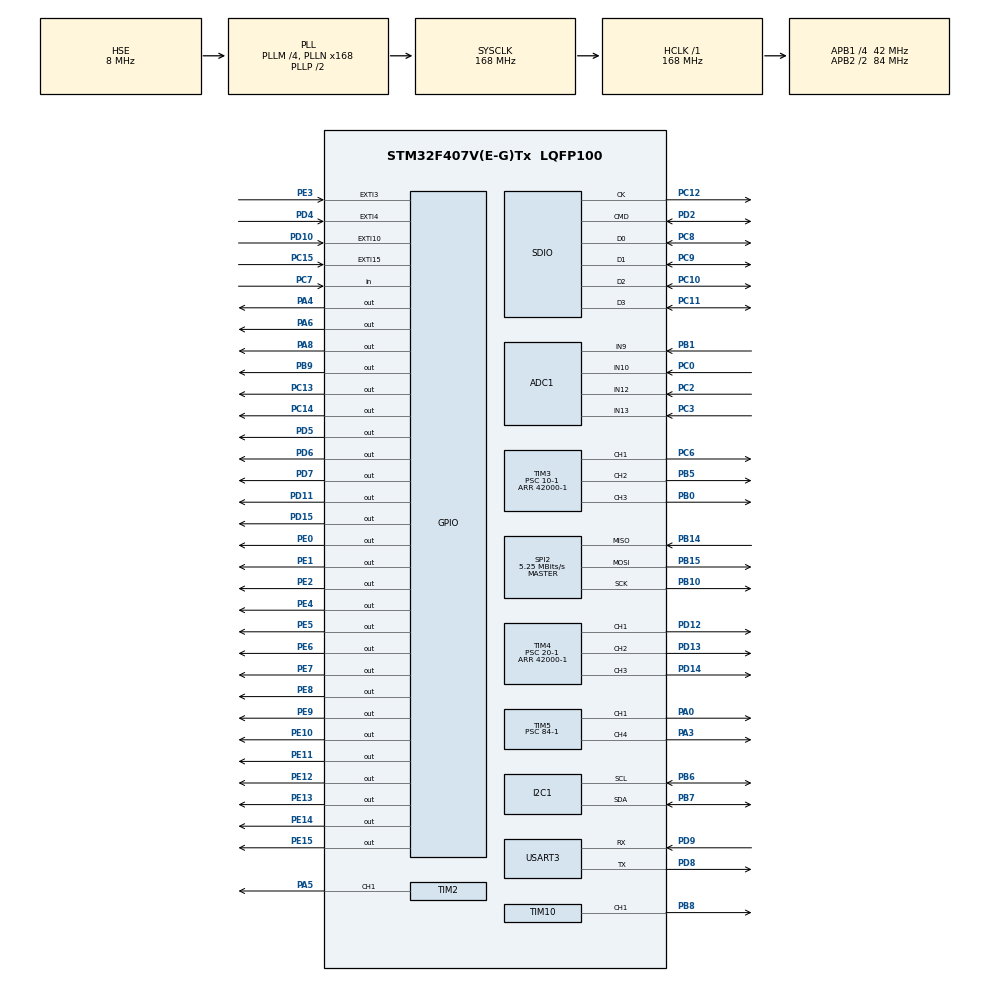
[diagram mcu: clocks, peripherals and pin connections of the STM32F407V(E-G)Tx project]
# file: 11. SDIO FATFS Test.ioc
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ADC1.Channel-0\#ChannelRegularConversion=ADC_CHANNEL_10
ADC1.Channel-1\#ChannelRegularConversion=ADC_CHANNEL_12
ADC1.Channel-2\#ChannelRegularConversion=ADC_CHANNEL_13
ADC1.Channel-3\#ChannelRegularConversion=ADC_CHANNEL_9
ADC1.ContinuousConvMode=ENABLE
ADC1.DMAContinuousRequests=ENABLE
ADC1.NbrOfConversion=4
ADC1.NbrOfConversionFlag=1
ADC1.Rank-0\#ChannelRegularConversion=1
ADC1.Rank-1\#ChannelRegularConversion=2
ADC1.Rank-2\#ChannelRegularConversion=3
ADC1.Rank-3\#ChannelRegularConversion=4
ADC1.SamplingTime-0\#ChannelRegularConversion=ADC_SAMPLETIME_84CYCLES
ADC1.SamplingTime-1\#ChannelRegularConversion=ADC_SAMPLETIME_84CYCLES
ADC1.SamplingTime-2\#ChannelRegularConversion=ADC_SAMPLETIME_84CYCLES
ADC1.SamplingTime-3\#ChannelRegularConversion=ADC_SAMPLETIME_84CYCLES
ADC1.ScanConvMode=ENABLE
ADC1.master=1
Dma.ADC1.0.Direction=DMA_PERIPH_TO_MEMORY
Dma.ADC1.0.FIFOMode=DMA_FIFOMODE_DISABLE
Dma.ADC1.0.Instance=DMA2_Stream0
Dma.ADC1.0.MemDataAlignment=DMA_MDATAALIGN_HALFWORD
Dma.ADC1.0.MemInc=DMA_MINC_ENABLE
Dma.ADC1.0.Mode=DMA_CIRCULAR
Dma.ADC1.0.PeriphDataAlignment=DMA_PDATAALIGN_HALFWORD
Dma.ADC1.0.PeriphInc=DMA_PINC_DISABLE
Dma.ADC1.0.Priority=DMA_PRIORITY_LOW
Dma.Request0=ADC1
Dma.Request1=SDIO_TX
Dma.Request2=SDIO_RX
Dma.SDIO_RX.2.Direction=DMA_PERIPH_TO_MEMORY
Dma.SDIO_RX.2.FIFOMode=DMA_FIFOMODE_ENABLE
Dma.SDIO_RX.2.FIFOThreshold=DMA_FIFO_THRESHOLD_FULL
Dma.SDIO_RX.2.Instance=DMA2_Stream6
Dma.SDIO_RX.2.MemBurst=DMA_MBURST_INC4
Dma.SDIO_RX.2.MemDataAlignment=DMA_MDATAALIGN_WORD
Dma.SDIO_RX.2.MemInc=DMA_MINC_ENABLE
Dma.SDIO_RX.2.Mode=DMA_PFCTRL
Dma.SDIO_RX.2.PeriphBurst=DMA_PBURST_INC4
Dma.SDIO_RX.2.PeriphDataAlignment=DMA_PDATAALIGN_WORD
Dma.SDIO_RX.2.PeriphInc=DMA_PINC_DISABLE
Dma.SDIO_RX.2.Priority=DMA_PRIORITY_LOW
Dma.SDIO_TX.1.Direction=DMA_MEMORY_TO_PERIPH
Dma.SDIO_TX.1.FIFOMode=DMA_FIFOMODE_ENABLE
Dma.SDIO_TX.1.FIFOThreshold=DMA_FIFO_THRESHOLD_FULL
Dma.SDIO_TX.1.Instance=DMA2_Stream3
Dma.SDIO_TX.1.MemBurst=DMA_MBURST_INC4
Dma.SDIO_TX.1.MemDataAlignment=DMA_MDATAALIGN_WORD
Dma.SDIO_TX.1.MemInc=DMA_MINC_ENABLE
Dma.SDIO_TX.1.Mode=DMA_PFCTRL
Dma.SDIO_TX.1.PeriphBurst=DMA_PBURST_INC4
Dma.SDIO_TX.1.PeriphDataAlignment=DMA_PDATAALIGN_WORD
Dma.SDIO_TX.1.PeriphInc=DMA_PINC_DISABLE
Dma.SDIO_TX.1.Priority=DMA_PRIORITY_LOW
FATFS.USE_DMA_CODE_SD=1
I2C1.I2C_Mode=I2C_Fast
Mcu.Family=STM32F4
Mcu.Name=STM32F407V(E-G)Tx
Mcu.Package=LQFP100
NVIC.DMA2_Stream0_IRQn=true\:0\:0\:false\:false\:true\:false\:true\:true
NVIC.DMA2_Stream3_IRQn=true\:0\:0\:false\:false\:true\:false\:true\:true
NVIC.DMA2_Stream6_IRQn=true\:0\:0\:false\:false\:true\:false\:true\:true
NVIC.EXTI15_10_IRQn=true\:0\:0\:false\:false\:true\:true\:true\:true
NVIC.EXTI3_IRQn=true\:0\:0\:false\:false\:true\:true\:true\:true
NVIC.EXTI4_IRQn=true\:0\:0\:false\:false\:true\:true\:true\:true
NVIC.PriorityGroup=NVIC_PRIORITYGROUP_4
NVIC.SDIO_IRQn=true\:0\:0\:false\:false\:true\:true\:true\:true
NVIC.TIM7_IRQn=true\:0\:0\:false\:false\:true\:true\:true\:true
NVIC.USART3_IRQn=true\:0\:0\:false\:false\:true\:true\:true\:true
PA0-WKUP.Signal=S_TIM5_CH1
PA3.Signal=S_TIM5_CH4
PA4.Signal=GPIO_Output
PA5.Signal=S_TIM2_CH1_ETR
PA6.Signal=GPIO_Output
PA8.Signal=GPIO_Output
PB0.Signal=S_TIM3_CH3
PB1.Signal=ADCx_IN9
PB10.Mode=Full_Duplex_Master
PB10.Signal=SPI2_SCK
PB14.Mode=Full_Duplex_Master
PB14.Signal=SPI2_MISO
PB15.Mode=Full_Duplex_Master
PB15.Signal=SPI2_MOSI
PB5.Signal=S_TIM3_CH2
PB6.Mode=I2C
PB6.Signal=I2C1_SCL
PB7.Mode=I2C
PB7.Signal=I2C1_SDA
PB8.Signal=S_TIM10_CH1
PB9.Signal=GPIO_Output
PC0.Signal=ADCx_IN10
PC10.Mode=SD_4_bits_Wide_bus
PC10.Signal=SDIO_D2
PC11.Mode=SD_4_bits_Wide_bus
PC11.Signal=SDIO_D3
PC12.Mode=SD_4_bits_Wide_bus
PC12.Signal=SDIO_CK
PC13-ANTI_TAMP.Signal=GPIO_Output
PC14-OSC32_IN.Signal=GPIO_Output
PC15-OSC32_OUT.Signal=GPXTI15
PC2.Signal=ADCx_IN12
PC3.Signal=ADCx_IN13
PC6.Signal=S_TIM3_CH1
PC7.Signal=GPIO_Input
PC8.Mode=SD_4_bits_Wide_bus
PC8.Signal=SDIO_D0
PC9.Mode=SD_4_bits_Wide_bus
PC9.Signal=SDIO_D1
PD10.Signal=GPXTI10
PD11.Signal=GPIO_Output
PD12.Signal=S_TIM4_CH1
PD13.Signal=S_TIM4_CH2
PD14.Signal=S_TIM4_CH3
PD15.Signal=GPIO_Output
PD2.Mode=SD_4_bits_Wide_bus
PD2.Signal=SDIO_CMD
PD4.Signal=GPXTI4
PD5.Signal=GPIO_Output
PD6.Signal=GPIO_Output
PD7.Signal=GPIO_Output
PD8.Mode=Asynchronous
PD8.Signal=USART3_TX
PD9.Mode=Asynchronous
PD9.Signal=USART3_RX
PE0.Signal=GPIO_Output
PE1.Signal=GPIO_Output
PE10.Signal=GPIO_Output
PE11.Signal=GPIO_Output
PE12.Signal=GPIO_Output
PE13.Signal=GPIO_Output
PE14.Signal=GPIO_Output
PE15.Signal=GPIO_Output
PE2.Signal=GPIO_Output
PE3.Signal=GPXTI3
PE4.Signal=GPIO_Output
PE5.Signal=GPIO_Output
PE6.Signal=GPIO_Output
PE7.Signal=GPIO_Output
PE8.Signal=GPIO_Output
PE9.Signal=GPIO_Output
PH0-OSC_IN.Mode=HSE-External-Oscillator
PH0-OSC_IN.Signal=RCC_OSC_IN
PH1-OSC_OUT.Mode=HSE-External-Oscillator
PH1-OSC_OUT.Signal=RCC_OSC_OUT
ProjectManager.HeapSize=0x200
ProjectManager.StackSize=0x400
ProjectManager.TargetToolchain=STM32CubeIDE
RCC.48MHZClocksFreq_Value=48000000
RCC.AHBFreq_Value=168000000
RCC.APB1CLKDivider=RCC_HCLK_DIV4
RCC.APB1Freq_Value=42000000
RCC.APB1TimFreq_Value=84000000
RCC.APB2CLKDivider=RCC_HCLK_DIV2
RCC.APB2Freq_Value=84000000
RCC.APB2TimFreq_Value=168000000
RCC.CortexFreq_Value=168000000
RCC.HCLKFreq_Value=168000000
RCC.HSE_VALUE=8000000
RCC.HSI_VALUE=16000000
RCC.LSE_VALUE=32768
RCC.PLLM=4
RCC.PLLN=168
RCC.PLLQ=7
RCC.PLLSourceVirtual=RCC_PLLSOURCE_HSE
RCC.SYSCLKFreq_VALUE=168000000
RCC.SYSCLKSource=RCC_SYSCLKSOURCE_PLLCLK
RCC.VCOOutputFreq_Value=336000000
SH.ADCx_IN10.0=ADC1_IN10,IN10
SH.ADCx_IN12.0=ADC1_IN12,IN12
SH.ADCx_IN13.0=ADC1_IN13,IN13
SH.ADCx_IN9.0=ADC1_IN9,IN9
SH.S_TIM10_CH1.0=TIM10_CH1,PWM Generation1 CH1
SH.S_TIM2_CH1_ETR.0=TIM2_CH1,PWM Generation1 CH1
SH.S_TIM3_CH1.0=TIM3_CH1,PWM Generation1 CH1
SH.S_TIM3_CH2.0=TIM3_CH2,PWM Generation2 CH2
SH.S_TIM3_CH3.0=TIM3_CH3,PWM Generation3 CH3
SH.S_TIM4_CH1.0=TIM4_CH1,PWM Generation1 CH1
SH.S_TIM4_CH2.0=TIM4_CH2,PWM Generation2 CH2
SH.S_TIM4_CH3.0=TIM4_CH3,PWM Generation3 CH3
SH.S_TIM5_CH1.0=TIM5_CH1,PWM Generation1 CH1
SH.S_TIM5_CH4.0=TIM5_CH4,PWM Generation4 CH4
SPI2.BaudRatePrescaler=SPI_BAUDRATEPRESCALER_8
SPI2.CLKPhase=SPI_PHASE_2EDGE
SPI2.CLKPolarity=SPI_POLARITY_HIGH
SPI2.CalculateBaudRate=5.25 MBits/s
SPI2.Direction=SPI_DIRECTION_2LINES
SPI2.Mode=SPI_MODE_MASTER
SPI2.VirtualType=VM_MASTER
TIM10.Channel=TIM_CHANNEL_1
TIM10.Period=10000-1
TIM10.Prescaler=336-1
TIM10.Pulse=100
TIM2.Channel-PWM\ Generation1\ CH1=TIM_CHANNEL_1
TIM2.Period=168-1
TIM2.Prescaler=1000-1
TIM2.Pulse-PWM\ Generation1\ CH1=84
TIM3.Channel-PWM\ Generation1\ CH1=TIM_CHANNEL_1
TIM3.Channel-PWM\ Generation2\ CH2=TIM_CHANNEL_2
TIM3.Channel-PWM\ Generation3\ CH3=TIM_CHANNEL_3
TIM3.Period=42000-1
TIM3.Prescaler=10-1
TIM3.Pulse-PWM\ Generation1\ CH1=21000-1
TIM3.Pulse-PWM\ Generation2\ CH2=10500-1
TIM3.Pulse-PWM\ Generation3\ CH3=5250-1
TIM4.Channel-PWM\ Generation1\ CH1=TIM_CHANNEL_1
TIM4.Channel-PWM\ Generation2\ CH2=TIM_CHANNEL_2
TIM4.Channel-PWM\ Generation3\ CH3=TIM_CHANNEL_3
TIM4.Period=42000-1
TIM4.Prescaler=20-1
TIM4.Pulse-PWM\ Generation1\ CH1=21000-1
TIM4.Pulse-PWM\ Generation2\ CH2=10500-1
TIM4.Pulse-PWM\ Generation3\ CH3=5250-1
TIM5.Channel-PWM\ Generation1\ CH1=TIM_CHANNEL_1
TIM5.Channel-PWM\ Generation4\ CH4=TIM_CHANNEL_4
TIM5.Period=10000-1
TIM5.Prescaler=84-1
TIM5.Pulse-PWM\ Generation1\ CH1=5000
TIM7.Period=8399
TIM7.Prescaler=9
USART3.VirtualMode=VM_ASYNC
VP_FATFS_VS_SDIO.Mode=SDIO
VP_TIM10_VS_ClockSourceINT.Mode=Enable_Timer
VP_TIM2_VS_ClockSourceINT.Mode=Internal
VP_TIM3_VS_ClockSourceINT.Mode=Internal
VP_TIM4_VS_ClockSourceINT.Mode=Internal
VP_TIM5_VS_ClockSourceINT.Mode=Internal
VP_TIM7_VS_ClockSourceINT.Mode=Enable_Timer
board=custom

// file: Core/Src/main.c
/* USER CODE BEGIN Header */
/**
  ******************************************************************************
  * @file           : main.c
  * @brief          : Main program body
  ******************************************************************************
  * @attention
  *
  * Copyright (c) 2022 STMicroelectronics.
  * All rights reserved.
  *
  * This software is licensed under terms that can be found in the LICENSE file
  * in the root directory of this software component.
  * If no LICENSE file comes with this software, it is provided AS-IS.
  *
  ******************************************************************************
  */
/* USER CODE END Header */
#include "main.h"
#include "adc.h"
#include "dma.h"
#include "fatfs.h"
#include "i2c.h"
#include "sdio.h"
#include "spi.h"
#include "tim.h"
#include "usart.h"
#include "gpio.h"

/* USER CODE BEGIN Includes */
#include "CLCD.h"
#include "7seg.h"
#include "VS1003.h"
#include "mp3sample.h"
/* USER CODE END Includes */

/* USER CODE BEGIN PV */
uint8_t rx3_data;
/* USER CODE END PV */

void SystemClock_Config(void);
/* USER CODE BEGIN PFP */
int _write(int file, char* p, int len)
{
	HAL_UART_Transmit(&huart3, p, len, 10);
	return len;
}
/* USER CODE END PFP */

int main(void)
{
  /* USER CODE BEGIN 1 */
	volatile uint16_t adcval[4];
  /* USER CODE END 1 */

  /* MCU Configuration--------------------------------------------------------*/

  /* Reset of all peripherals, Initializes the Flash interface and the Systick. */
  HAL_Init();

  /* Configure the system clock */
  SystemClock_Config();

  /* Initialize all configured peripherals */
  MX_GPIO_Init();
  MX_DMA_Init();
  MX_USART3_UART_Init();
  MX_TIM7_Init();
  MX_TIM2_Init();
  MX_TIM3_Init();
  MX_TIM4_Init();
  MX_TIM5_Init();
  MX_TIM10_Init();
  MX_ADC1_Init();
  MX_I2C1_Init();
  MX_SPI2_Init();
  MX_SDIO_SD_Init();
  MX_FATFS_Init();
  /* USER CODE BEGIN 2 */
	HAL_GPIO_WritePin(GPIOC, GPIO_PIN_6, GPIO_PIN_SET);
	HAL_GPIO_WritePin(GPIOB, GPIO_PIN_0, GPIO_PIN_SET);
	HAL_GPIO_WritePin(GPIOB, GPIO_PIN_5, GPIO_PIN_SET);

	HAL_GPIO_WritePin(GPIOD, GPIO_PIN_12, GPIO_PIN_SET);
	HAL_GPIO_WritePin(GPIOD, GPIO_PIN_13, GPIO_PIN_SET);
	HAL_GPIO_WritePin(GPIOD, GPIO_PIN_14, GPIO_PIN_SET);

	HAL_UART_Receive_IT(&huart3, &rx3_data, 1);
	HAL_TIM_Base_Start_IT(&htim7);

	CLCD_GPIO_Init();
	CLCD_Init();
	CLCD_Puts(0, 0, "Welcome to");
	CLCD_Puts(0, 1, "M-HIVE");
	CLCD_Clear();

	_7SEG_GPIO_Init();

	HAL_TIM_PWM_Start(&htim3, TIM_CHANNEL_1);
	HAL_TIM_PWM_Start(&htim3, TIM_CHANNEL_2);
	HAL_TIM_PWM_Start(&htim3, TIM_CHANNEL_3);

	HAL_TIM_PWM_Start(&htim4, TIM_CHANNEL_1);
	HAL_TIM_PWM_Start(&htim4, TIM_CHANNEL_2);
	HAL_TIM_PWM_Start(&htim4, TIM_CHANNEL_3);

	HAL_TIM_PWM_Start(&htim10, TIM_CHANNEL_1);

//	HAL_TIM_PWM_Start(&htim2, TIM_CHANNEL_1);

	HAL_TIM_PWM_Start(&htim5, TIM_CHANNEL_1);
	HAL_TIM_PWM_Start(&htim5, TIM_CHANNEL_4);

	HAL_ADC_Start_DMA(&hadc1, &adcval[0], 4);
//	HAL_DAC_Start(&hdac, DAC_CHANNEL_1);

	TIM10->CCR1 = 1500;

	TIM5->CCR1 = 0;
	TIM5->CCR4 = 5000;

	TIM7->PSC = 9;

	VS1003_Init();
	VS1003_SoftReset();
  /* USER CODE END 2 */

  /* Infinite loop */
  /* USER CODE BEGIN WHILE */
	uint8_t a = 0;
	float f = 1.234;
	uint8_t str[20];
	uint16_t ccr = 0;
	uint16_t psc = 1000;
	uint8_t ud_flag = 0;
	uint16_t dacval = 0;
	uint8_t eeprom[10];// = {0x00, 0x11, 0x22, 0x33, 0x44, 0x55, 0x66, 0x77, 0x88, 0x99};

	//HAL_I2C_Mem_Write(&hi2c1, 0xA0, 0x00, I2C_MEMADD_SIZE_8BIT, &eeprom[0], 10, 10);

	HAL_Delay(3);

	for(int i = 0;i<10;i++) eeprom[i] = 0x00;

	HAL_I2C_Mem_Read(&hi2c1, 0xA0, 0x00, I2C_MEMADD_SIZE_8BIT, &eeprom[0], 10, 10);

	sprintf(str, "%02x %02x %02x %02x %02x", eeprom[0], eeprom[1], eeprom[2], eeprom[3], eeprom[4]);
	CLCD_Puts(0, 0, str);
	sprintf(str, "%02x %02x %02x %02x %02x", eeprom[5], eeprom[6], eeprom[7], eeprom[8], eeprom[9]);
	CLCD_Puts(0, 1, str);

	int i = 0;

	BYTE buf[32] = "Hello world";	// file copy buffer
	uint32_t bw, br;
	/************* 1. "0:/" drive mount ***********/
	if((retSD = f_mount(&SDFatFS, &SDPath[0], 1)) == FR_OK)
	{
		sprintf(str, "f_mount OK %d", retSD);
		CLCD_Puts(0, 0, str);
	}
	else
	{
		sprintf(str, "f_mount failed %d", retSD);
		CLCD_Puts(0, 0, str);
	}
	/*****************************************************/

//	/*********** 2. create and write to a file ***********/
//	if((retSD = f_open(&SDFile, "0:/M-HIVE.txt", FA_CREATE_NEW | FA_WRITE)) == FR_OK)
//	{
//		sprintf(buf, "Hello world");
//		f_write(&SDFile, buf, sizeof(buf), &bw);
//
//		sprintf(str, "%d bytes", bw);
//		CLCD_Puts(0, 0, str);
//
//		f_close(&SDFile);
//	}
//	else
//	{
//		sprintf(str, "error %d\n", retSD);
//		CLCD_Puts(0, 0, str);
//	}
//	/*****************************************************/

	/********** 3. open and read from a file  ************/
	if((retSD = f_open(&SDFile, "0:/ChrisP.txt", FA_OPEN_EXISTING | FA_READ)) == FR_OK)
	{
		CLCD_Clear();

		f_read(&SDFile, buf, 32, &br);
		sprintf(str, "%s", buf);
		CLCD_Puts(0, 0, str);

		sprintf(str, "%d bytes", br);
		CLCD_Puts(0, 1, str);
	}
	else
	{
		sprintf(str, "open error %d\n", retSD);
		CLCD_Puts(0, 0, str);
	}
	/*****************************************************/

  while (1)
  {
    /* USER CODE END WHILE */

  }
}

void SystemClock_Config(void)
{
  RCC_OscInitTypeDef RCC_OscInitStruct = {0};
  RCC_ClkInitTypeDef RCC_ClkInitStruct = {0};

  /** Configure the main internal regulator output voltage
  */
  __HAL_RCC_PWR_CLK_ENABLE();
  __HAL_PWR_VOLTAGESCALING_CONFIG(PWR_REGULATOR_VOLTAGE_SCALE1);

  /** Initializes the RCC Oscillators according to the specified parameters
  * in the RCC_OscInitTypeDef structure.
  */
  RCC_OscInitStruct.OscillatorType = RCC_OSCILLATORTYPE_HSE;
  RCC_OscInitStruct.HSEState = RCC_HSE_ON;
  RCC_OscInitStruct.PLL.PLLState = RCC_PLL_ON;
  RCC_OscInitStruct.PLL.PLLSource = RCC_PLLSOURCE_HSE;
  RCC_OscInitStruct.PLL.PLLM = 4;
  RCC_OscInitStruct.PLL.PLLN = 168;
  RCC_OscInitStruct.PLL.PLLP = RCC_PLLP_DIV2;
  RCC_OscInitStruct.PLL.PLLQ = 7;
  if (HAL_RCC_OscConfig(&RCC_OscInitStruct) != HAL_OK)
  {
    Error_Handler();
  }

  /** Initializes the CPU, AHB and APB buses clocks
  */
  RCC_ClkInitStruct.ClockType = RCC_CLOCKTYPE_HCLK|RCC_CLOCKTYPE_SYSCLK
                              |RCC_CLOCKTYPE_PCLK1|RCC_CLOCKTYPE_PCLK2;
  RCC_ClkInitStruct.SYSCLKSource = RCC_SYSCLKSOURCE_PLLCLK;
  RCC_ClkInitStruct.AHBCLKDivider = RCC_SYSCLK_DIV1;
  RCC_ClkInitStruct.APB1CLKDivider = RCC_HCLK_DIV4;
  RCC_ClkInitStruct.APB2CLKDivider = RCC_HCLK_DIV2;

  if (HAL_RCC_ClockConfig(&RCC_ClkInitStruct, FLASH_LATENCY_5) != HAL_OK)
  {
    Error_Handler();
  }
}

/* USER CODE BEGIN 4 */
void HAL_UART_RxCpltCallback(UART_HandleTypeDef *huart)
{
	if(huart->Instance == USART3)
	{
		HAL_UART_Receive_IT(&huart3, &rx3_data, 1);
		HAL_UART_Transmit(&huart3, &rx3_data, 1, 10);
	}
}

void HAL_TIM_PeriodElapsedCallback(TIM_HandleTypeDef *htim)
{
	static unsigned short cnt = 0;
	if(htim->Instance == TIM7)
	{
//		HAL_DAC_SetValue(&hdac, DAC_CHANNEL_1, DAC_ALIGN_12B_R, (sinf(2 * 3.1415926535f * 100 * cnt / 1000.f) + 1) * 2047);
		cnt++;
		if(cnt > 999) cnt = 0;
	}
}

void HAL_GPIO_EXTI_Callback(uint16_t GPIO_Pin)
{
	if(GPIO_Pin == GPIO_PIN_3)
	{
		HAL_GPIO_TogglePin(GPIOD, GPIO_PIN_12);
	}

	if(GPIO_Pin == GPIO_PIN_15)
	{
		HAL_GPIO_TogglePin(GPIOD, GPIO_PIN_13);
	}

	if(GPIO_Pin == GPIO_PIN_4)
	{
		HAL_GPIO_TogglePin(GPIOD, GPIO_PIN_14);
	}

	if(GPIO_Pin == GPIO_PIN_10)
	{
		HAL_GPIO_TogglePin(GPIOB, GPIO_PIN_0);
	}
}
/* USER CODE END 4 */

void Error_Handler(void)
{
  __disable_irq();
  while (1)
  {
  }
}
